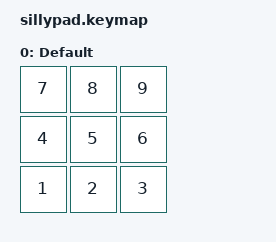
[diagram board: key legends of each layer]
#include <dt-bindings/zmk/mouse.h>
#include <behaviors.dtsi>
#include <dt-bindings/zmk/bt.h>
#include <dt-bindings/zmk/keys.h>
#include <dt-bindings/zmk/pointing.h>

/{
     keymap {
        compatible = "zmk,keymap";

        base {
            display-name = "Default";
            bindings = < 
                &kp N7      &kp N8    &kp N9   
                &kp N4    &kp N5     &kp N6
                &kp N1   &kp N2   &kp N3
            >;
        };	
	combos {
	compatible = "zmk,combos";
	combo_studio_unlock: combo_studio_unlock { timeout-ms = <150>; key-positions = <0 1>; bindings = <&studio_unlock>; };
	combo_bt: combo_bt { timeout-ms = <150>; key-positions = <3 4 5>; bindings = <&to 1>; };
	};
    };	
};
